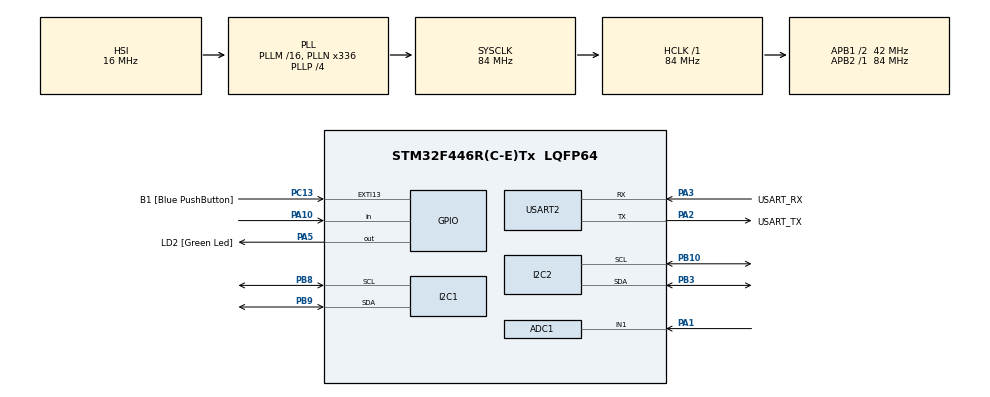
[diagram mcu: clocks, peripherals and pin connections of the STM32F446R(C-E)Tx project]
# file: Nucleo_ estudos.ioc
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ADC1.Channel-1\#ChannelRegularConversion=ADC_CHANNEL_1
ADC1.NbrOfConversionFlag=1
ADC1.Rank-1\#ChannelRegularConversion=1
ADC1.SamplingTime-1\#ChannelRegularConversion=ADC_SAMPLETIME_3CYCLES
ADC1.master=1
Mcu.Family=STM32F4
Mcu.Name=STM32F446R(C-E)Tx
Mcu.Package=LQFP64
NVIC.PriorityGroup=NVIC_PRIORITYGROUP_0
PA1.Signal=ADCx_IN1
PA10.Signal=GPIO_Input
PA13.GPIO_Label=TMS
PA13.Mode=Serial_Wire
PA13.Signal=SYS_JTMS-SWDIO
PA14.GPIO_Label=TCK
PA14.Mode=Serial_Wire
PA14.Signal=SYS_JTCK-SWCLK
PA2.GPIO_Label=USART_TX
PA2.Mode=Asynchronous
PA2.Signal=USART2_TX
PA3.GPIO_Label=USART_RX
PA3.Mode=Asynchronous
PA3.Signal=USART2_RX
PA5.GPIO_Label=LD2 [Green Led]
PA5.Signal=GPIO_Output
PB10.Mode=I2C
PB10.Signal=I2C2_SCL
PB3.Mode=I2C
PB3.Signal=I2C2_SDA
PB8.Mode=I2C
PB8.Signal=I2C1_SCL
PB9.Mode=I2C
PB9.Signal=I2C1_SDA
PC13.GPIO_Label=B1 [Blue PushButton]
PC13.GPIO_ModeDefaultEXTI=GPIO_MODE_IT_FALLING
PC13.Signal=GPXTI13
PC14-OSC32_IN.Mode=LSE-External-Oscillator
PC14-OSC32_IN.Signal=RCC_OSC32_IN
PC15-OSC32_OUT.Mode=LSE-External-Oscillator
PC15-OSC32_OUT.Signal=RCC_OSC32_OUT
PH0-OSC_IN.Mode=HSE-External-Oscillator
PH0-OSC_IN.Signal=RCC_OSC_IN
PH1-OSC_OUT.Mode=HSE-External-Oscillator
PH1-OSC_OUT.Signal=RCC_OSC_OUT
ProjectManager.HeapSize=0x200
ProjectManager.StackSize=0x400
ProjectManager.TargetToolchain=STM32CubeIDE
RCC.48MHZClocksFreq_Value=84000000
RCC.AHBFreq_Value=84000000
RCC.APB1CLKDivider=RCC_HCLK_DIV2
RCC.APB1Freq_Value=42000000
RCC.APB1TimFreq_Value=84000000
RCC.APB2Freq_Value=84000000
RCC.APB2TimFreq_Value=84000000
RCC.CortexFreq_Value=84000000
RCC.FLatency-AdvancedSettings=FLASH_LATENCY_2
RCC.HCLKFreq_Value=84000000
RCC.HSE_VALUE=8000000
RCC.HSI_VALUE=16000000
RCC.PLLN=336
RCC.PLLP=RCC_PLLP_DIV4
RCC.SYSCLKFreq_VALUE=84000000
RCC.SYSCLKSource=RCC_SYSCLKSOURCE_PLLCLK
RCC.USBFreq_Value=168000000
RCC.VCOOutputFreq_Value=336000000
SH.ADCx_IN1.0=ADC1_IN1,IN1
TIM13.Prescaler=84-1
USART2.VirtualMode=VM_ASYNC
VP_TIM13_VS_ClockSourceINT.Mode=Enable_Timer
board=NUCLEO-F446RE

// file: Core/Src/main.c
/* USER CODE BEGIN Header */
/**
  ******************************************************************************
  * @file           : main.c
  * @brief          : Main program body
  ******************************************************************************
  * @attention
  *
  * Copyright (c) 2023 STMicroelectronics.
  * All rights reserved.
  *
  * This software is licensed under terms that can be found in the LICENSE file
  * in the root directory of this software component.
  * If no LICENSE file comes with this software, it is provided AS-IS.
  *
  ******************************************************************************
  */
/* USER CODE END Header */
#include "main.h"

/* USER CODE BEGIN Includes */
#include <string.h>
#include <stdio.h>
#include "Acc.h"
#include "lcd_i2c.h"

/* USER CODE END Includes */

ADC_HandleTypeDef hadc1;

I2C_HandleTypeDef hi2c1;
I2C_HandleTypeDef hi2c2;

TIM_HandleTypeDef htim13;

UART_HandleTypeDef huart2;

/* USER CODE BEGIN PV */
int16_t x_acc_d;
int16_t y_acc_d;
int16_t z_acc_d;

/* USER CODE END PV */

void SystemClock_Config(void);
static void MX_GPIO_Init(void);
static void MX_USART2_UART_Init(void);
static void MX_TIM13_Init(void);
static void MX_ADC1_Init(void);
static void MX_I2C1_Init(void);
static void MX_I2C2_Init(void);
/* USER CODE BEGIN PFP */

#ifdef __GNUC__
#define PUTCHAR_PROTOTYPE int __io_putchar(int ch)
#else
#define PUTCHAR_PROTOTYPE int fputc(int ch, FILE *f)
#endif

PUTCHAR_PROTOTYPE
{
  HAL_UART_Transmit(&huart2, (uint8_t *)&ch, 1, HAL_MAX_DELAY);
  return ch;
}

/* USER CODE END PFP */

int main(void)
{

  /* MCU Configuration--------------------------------------------------------*/

  /* Reset of all peripherals, Initializes the Flash interface and the Systick. */
  HAL_Init();

  /* Configure the system clock */
  SystemClock_Config();

  /* Initialize all configured peripherals */
  MX_GPIO_Init();
  MX_USART2_UART_Init();
  MX_TIM13_Init();
  MX_ADC1_Init();
  MX_I2C1_Init();
  MX_I2C2_Init();
  /* USER CODE BEGIN 2 */

  lcd_init();
  acc_init();

  /* USER CODE END 2 */

  /* Infinite loop */
  while (1)
  {

    /* USER CODE BEGIN 3 */

	  x_acc_d=acc_xread();
	  y_acc_d=acc_yread();
	  z_acc_d=acc_zread();

	  lcd_set_cursor(0,0);
	  lcd_write_string("Hello");

	  lcd_set_cursor(1,0);
	  lcd_write_string("World");

	  lcd_set_cursor(2,0);
	  lcd_write_string("Teste");

	  lcd_set_cursor(3,0);
	  lcd_write_string("Teste");

	  HAL_Delay(1000);

  }
  /* USER CODE END 3 */
}

void SystemClock_Config(void)
{
  RCC_OscInitTypeDef RCC_OscInitStruct = {0};
  RCC_ClkInitTypeDef RCC_ClkInitStruct = {0};

  /** Configure the main internal regulator output voltage
  */
  __HAL_RCC_PWR_CLK_ENABLE();
  __HAL_PWR_VOLTAGESCALING_CONFIG(PWR_REGULATOR_VOLTAGE_SCALE3);

  /** Initializes the RCC Oscillators according to the specified parameters
  * in the RCC_OscInitTypeDef structure.
  */
  RCC_OscInitStruct.OscillatorType = RCC_OSCILLATORTYPE_HSI;
  RCC_OscInitStruct.HSIState = RCC_HSI_ON;
  RCC_OscInitStruct.HSICalibrationValue = RCC_HSICALIBRATION_DEFAULT;
  RCC_OscInitStruct.PLL.PLLState = RCC_PLL_ON;
  RCC_OscInitStruct.PLL.PLLSource = RCC_PLLSOURCE_HSI;
  RCC_OscInitStruct.PLL.PLLM = 16;
  RCC_OscInitStruct.PLL.PLLN = 336;
  RCC_OscInitStruct.PLL.PLLP = RCC_PLLP_DIV4;
  RCC_OscInitStruct.PLL.PLLQ = 2;
  RCC_OscInitStruct.PLL.PLLR = 2;
  if (HAL_RCC_OscConfig(&RCC_OscInitStruct) != HAL_OK)
  {
    Error_Handler();
  }

  /** Initializes the CPU, AHB and APB buses clocks
  */
  RCC_ClkInitStruct.ClockType = RCC_CLOCKTYPE_HCLK|RCC_CLOCKTYPE_SYSCLK
                              |RCC_CLOCKTYPE_PCLK1|RCC_CLOCKTYPE_PCLK2;
  RCC_ClkInitStruct.SYSCLKSource = RCC_SYSCLKSOURCE_PLLCLK;
  RCC_ClkInitStruct.AHBCLKDivider = RCC_SYSCLK_DIV1;
  RCC_ClkInitStruct.APB1CLKDivider = RCC_HCLK_DIV2;
  RCC_ClkInitStruct.APB2CLKDivider = RCC_HCLK_DIV1;

  if (HAL_RCC_ClockConfig(&RCC_ClkInitStruct, FLASH_LATENCY_2) != HAL_OK)
  {
    Error_Handler();
  }
}

static void MX_ADC1_Init(void)
{

  ADC_ChannelConfTypeDef sConfig = {0};

  /** Configure the global features of the ADC (Clock, Resolution, Data Alignment and number of conversion)
  */
  hadc1.Instance = ADC1;
  hadc1.Init.ClockPrescaler = ADC_CLOCK_SYNC_PCLK_DIV4;
  hadc1.Init.Resolution = ADC_RESOLUTION_12B;
  hadc1.Init.ScanConvMode = DISABLE;
  hadc1.Init.ContinuousConvMode = DISABLE;
  hadc1.Init.DiscontinuousConvMode = DISABLE;
  hadc1.Init.ExternalTrigConvEdge = ADC_EXTERNALTRIGCONVEDGE_NONE;
  hadc1.Init.ExternalTrigConv = ADC_SOFTWARE_START;
  hadc1.Init.DataAlign = ADC_DATAALIGN_RIGHT;
  hadc1.Init.NbrOfConversion = 1;
  hadc1.Init.DMAContinuousRequests = DISABLE;
  hadc1.Init.EOCSelection = ADC_EOC_SINGLE_CONV;
  if (HAL_ADC_Init(&hadc1) != HAL_OK)
  {
    Error_Handler();
  }

  /** Configure for the selected ADC regular channel its corresponding rank in the sequencer and its sample time.
  */
  sConfig.Channel = ADC_CHANNEL_1;
  sConfig.Rank = 1;
  sConfig.SamplingTime = ADC_SAMPLETIME_3CYCLES;
  if (HAL_ADC_ConfigChannel(&hadc1, &sConfig) != HAL_OK)
  {
    Error_Handler();
  }

}

static void MX_I2C1_Init(void)
{

  hi2c1.Instance = I2C1;
  hi2c1.Init.ClockSpeed = 100000;
  hi2c1.Init.DutyCycle = I2C_DUTYCYCLE_2;
  hi2c1.Init.OwnAddress1 = 0;
  hi2c1.Init.AddressingMode = I2C_ADDRESSINGMODE_7BIT;
  hi2c1.Init.DualAddressMode = I2C_DUALADDRESS_DISABLE;
  hi2c1.Init.OwnAddress2 = 0;
  hi2c1.Init.GeneralCallMode = I2C_GENERALCALL_DISABLE;
  hi2c1.Init.NoStretchMode = I2C_NOSTRETCH_DISABLE;
  if (HAL_I2C_Init(&hi2c1) != HAL_OK)
  {
    Error_Handler();
  }

}

static void MX_I2C2_Init(void)
{

  hi2c2.Instance = I2C2;
  hi2c2.Init.ClockSpeed = 100000;
  hi2c2.Init.DutyCycle = I2C_DUTYCYCLE_2;
  hi2c2.Init.OwnAddress1 = 0;
  hi2c2.Init.AddressingMode = I2C_ADDRESSINGMODE_7BIT;
  hi2c2.Init.DualAddressMode = I2C_DUALADDRESS_DISABLE;
  hi2c2.Init.OwnAddress2 = 0;
  hi2c2.Init.GeneralCallMode = I2C_GENERALCALL_DISABLE;
  hi2c2.Init.NoStretchMode = I2C_NOSTRETCH_DISABLE;
  if (HAL_I2C_Init(&hi2c2) != HAL_OK)
  {
    Error_Handler();
  }

}

static void MX_TIM13_Init(void)
{

  htim13.Instance = TIM13;
  htim13.Init.Prescaler = 84-1;
  htim13.Init.CounterMode = TIM_COUNTERMODE_UP;
  htim13.Init.Period = 65535;
  htim13.Init.ClockDivision = TIM_CLOCKDIVISION_DIV1;
  htim13.Init.AutoReloadPreload = TIM_AUTORELOAD_PRELOAD_DISABLE;
  if (HAL_TIM_Base_Init(&htim13) != HAL_OK)
  {
    Error_Handler();
  }

}

static void MX_USART2_UART_Init(void)
{

  huart2.Instance = USART2;
  huart2.Init.BaudRate = 115200;
  huart2.Init.WordLength = UART_WORDLENGTH_8B;
  huart2.Init.StopBits = UART_STOPBITS_1;
  huart2.Init.Parity = UART_PARITY_NONE;
  huart2.Init.Mode = UART_MODE_TX_RX;
  huart2.Init.HwFlowCtl = UART_HWCONTROL_NONE;
  huart2.Init.OverSampling = UART_OVERSAMPLING_16;
  if (HAL_UART_Init(&huart2) != HAL_OK)
  {
    Error_Handler();
  }

}

static void MX_GPIO_Init(void)
{
  GPIO_InitTypeDef GPIO_InitStruct = {0};

  /* GPIO Ports Clock Enable */
  __HAL_RCC_GPIOC_CLK_ENABLE();
  __HAL_RCC_GPIOH_CLK_ENABLE();
  __HAL_RCC_GPIOA_CLK_ENABLE();
  __HAL_RCC_GPIOB_CLK_ENABLE();

  /*Configure GPIO pin Output Level */
  HAL_GPIO_WritePin(LD2_GPIO_Port, LD2_Pin, GPIO_PIN_RESET);

  /*Configure GPIO pin : B1_Pin */
  GPIO_InitStruct.Pin = B1_Pin;
  GPIO_InitStruct.Mode = GPIO_MODE_IT_FALLING;
  GPIO_InitStruct.Pull = GPIO_NOPULL;
  HAL_GPIO_Init(B1_GPIO_Port, &GPIO_InitStruct);

  /*Configure GPIO pin : LD2_Pin */
  GPIO_InitStruct.Pin = LD2_Pin;
  GPIO_InitStruct.Mode = GPIO_MODE_OUTPUT_PP;
  GPIO_InitStruct.Pull = GPIO_NOPULL;
  GPIO_InitStruct.Speed = GPIO_SPEED_FREQ_LOW;
  HAL_GPIO_Init(LD2_GPIO_Port, &GPIO_InitStruct);

  /*Configure GPIO pin : PA10 */
  GPIO_InitStruct.Pin = GPIO_PIN_10;
  GPIO_InitStruct.Mode = GPIO_MODE_INPUT;
  GPIO_InitStruct.Pull = GPIO_NOPULL;
  HAL_GPIO_Init(GPIOA, &GPIO_InitStruct);

}

/* USER CODE BEGIN 4 */
int fib(int n)
{
	if(n==1||n==2)
	{
		return 1;
	}
	else
	{
		return fib(n-2)+ fib(n-1);
	}

}

/* USER CODE END 4 */

void Error_Handler(void)
{
  __disable_irq();
  while (1)
  {
  }
}
